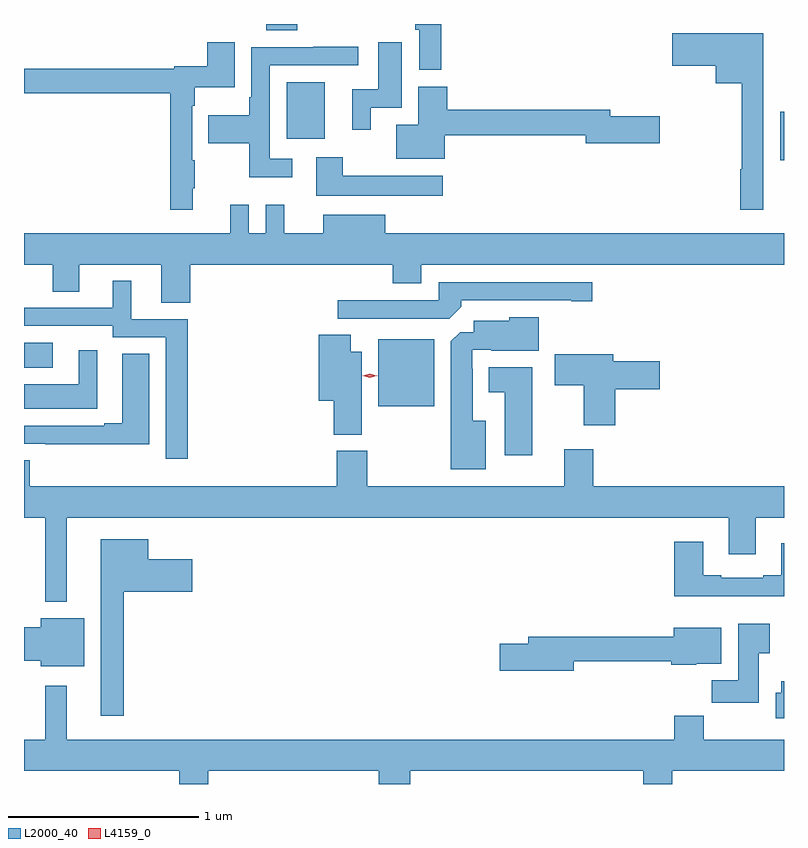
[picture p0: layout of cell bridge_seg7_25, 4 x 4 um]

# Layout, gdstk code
import gdstk
lib = gdstk.Library(unit=1e-6, precision=1e-09)
def R(c, l, rs):  # rectangles x0, y0, x1, y1
    for r in rs: c.add(gdstk.rectangle(r[:2], r[2:], *l))
def P(c, l, *ps):  # polygons
    for p in ps: c.add(gdstk.Polygon(p, *l))
L2000_40 = (2000, 40)
L4159_0 = (4159, 0)

bridge_seg7_25 = lib.new_cell('bridge_seg7_25')
R(bridge_seg7_25, L2000_40, [(1045.37,1053.149,1045.663,1053.502), (1043.505,1053.353,1043.656,1053.484), (1047.485,1054.445,1047.505,1054.699), (1044.887,1054.559,1045.087,1054.855), (1044.779,1055.129,1044.944,1055.162)])
P(bridge_seg7_25, L2000_40, [(1045.7,1055.162),(1045.564,1055.162),(1045.564,1055.132),(1045.584,1055.132),(1045.584,1054.92),(1045.7,1054.92)],
  [(1047.397,1055.113),(1046.916,1055.113),(1046.916,1054.943),(1047.146,1054.943),(1047.146,1054.85),(1047.283,1054.85),(1047.283,1054.397),(1047.276,1054.397),(1047.276,1054.185),(1047.397,1054.185)],
  [(1044.392,1054.297),(1044.403,1054.297),(1044.403,1054.445),(1044.39,1054.445),(1044.39,1054.733),(1044.403,1054.733),(1044.403,1054.829),(1044.613,1054.829),(1044.613,1055.065),(1044.47,1055.065),(1044.47,1054.939),(1044.297,1054.939),(1044.297,1054.927),(1043.505,1054.927),(1043.505,1054.798),(1044.274,1054.798),(1044.274,1054.185),(1044.392,1054.185)],
  [(1045.33,1054.722),(1045.492,1054.722),(1045.492,1055.065),(1045.37,1055.065),(1045.37,1054.818),(1045.232,1054.818),(1045.232,1054.605),(1045.33,1054.605)],
  [(1044.916,1054.452),(1044.798,1054.452),(1044.798,1054.944),(1045.264,1054.944),(1045.264,1055.042),(1045.027,1055.042),(1045.027,1055.04),(1044.702,1055.04),(1044.702,1054.777),(1044.69,1054.777),(1044.69,1054.681),(1044.475,1054.681),(1044.475,1054.534),(1044.69,1054.534),(1044.69,1054.355),(1044.916,1054.355)],
  [(1045.72,1054.576),(1046.462,1054.576),(1046.462,1054.534),(1046.851,1054.534),(1046.851,1054.676),(1046.59,1054.676),(1046.59,1054.712),(1045.733,1054.712),(1045.733,1054.831),(1045.58,1054.831),(1045.58,1054.633),(1045.463,1054.633),(1045.463,1054.454),(1045.72,1054.454)],
  [(1045.708,1054.363),(1045.183,1054.363),(1045.183,1054.462),(1045.043,1054.462),(1045.043,1054.259),(1045.708,1054.259)],
  [(1044.38,1053.896),(1045.445,1053.896),(1045.445,1053.797),(1045.597,1053.797),(1045.597,1053.896),(1047.505,1053.896),(1047.505,1054.06),(1045.405,1054.06),(1045.405,1054.159),(1045.079,1054.159),(1045.079,1054.06),(1044.875,1054.06),(1044.875,1054.21),(1044.777,1054.21),(1044.777,1054.06),(1044.687,1054.06),(1044.687,1054.21),(1044.59,1054.21),(1044.59,1054.06),(1043.505,1054.06),(1043.505,1053.896),(1043.657,1053.896),(1043.657,1053.754),(1043.797,1053.754),(1043.797,1053.896),(1044.227,1053.896),(1044.227,1053.694),(1044.38,1053.694)],
  [(1044.368,1053.609),(1044.07,1053.609),(1044.07,1053.811),(1043.972,1053.811),(1043.972,1053.669),(1043.505,1053.669),(1043.505,1053.573),(1043.973,1053.573),(1043.973,1053.513),(1044.252,1053.513),(1044.252,1052.874),(1044.368,1052.874)],
  [(1045.805,1053.674),(1045.805,1053.708),(1046.384,1053.708),(1046.384,1053.703),(1046.497,1053.703),(1046.497,1053.804),(1045.689,1053.804),(1045.689,1053.708),(1045.155,1053.708),(1045.155,1053.612),(1045.743,1053.612)],
  [(1045.936,1053.073),(1045.867,1053.073),(1045.867,1053.347),(1045.863,1053.347),(1045.863,1053.447),(1045.963,1053.447),(1045.963,1053.443),(1046.215,1053.443),(1046.215,1053.619),(1046.058,1053.619),(1046.058,1053.601),(1045.871,1053.601),(1045.871,1053.54),(1045.8,1053.54),(1045.751,1053.491),(1045.751,1052.819),(1045.936,1052.819)],
  [(1045.282,1053.436),(1045.225,1053.436),(1045.225,1053.527),(1045.055,1053.527),(1045.055,1053.179),(1045.136,1053.179),(1045.136,1053.001),(1045.282,1053.001)],
  [(1043.89,1053.445),(1043.792,1053.445),(1043.792,1053.265),(1043.505,1053.265),(1043.505,1053.137),(1043.89,1053.137)],
  [(1044.163,1053.427),(1044.023,1053.427),(1044.023,1053.061),(1043.927,1053.061),(1043.927,1053.048),(1043.505,1053.048),(1043.505,1052.952),(1043.617,1052.952),(1043.617,1052.95),(1044.163,1052.95)],
  [(1046.618,1053.239),(1046.851,1053.239),(1046.851,1053.386),(1046.605,1053.386),(1046.605,1053.424),(1046.298,1053.424),(1046.298,1053.262),(1046.45,1053.262),(1046.45,1053.051),(1046.618,1053.051)],
  [(1046.179,1053.355),(1045.952,1053.355),(1045.952,1053.224),(1046.036,1053.224),(1046.036,1052.892),(1046.179,1052.892)],
  [(1043.731,1052.564),(1047.215,1052.564),(1047.215,1052.37),(1047.355,1052.37),(1047.355,1052.564),(1047.505,1052.564),(1047.505,1052.728),(1046.501,1052.728),(1046.501,1052.923),(1046.348,1052.923),(1046.348,1052.728),(1045.311,1052.728),(1045.311,1052.916),(1045.151,1052.916),(1045.151,1052.728),(1043.534,1052.728),(1043.534,1052.867),(1043.505,1052.867),(1043.505,1052.564),(1043.617,1052.564),(1043.617,1052.12),(1043.731,1052.12)],
  [(1044.031,1052.174),(1044.391,1052.174),(1044.391,1052.344),(1044.16,1052.344),(1044.16,1052.449),(1043.909,1052.449),(1043.909,1051.521),(1044.031,1051.521)],
  [(1047.505,1052.428),(1047.491,1052.428),(1047.491,1052.26),(1047.395,1052.26),(1047.395,1052.247),(1047.175,1052.247),(1047.175,1052.26),(1047.079,1052.26),(1047.079,1052.437),(1046.927,1052.437),(1046.927,1052.15),(1047.505,1052.15)],
  [(1043.821,1052.035),(1043.594,1052.035),(1043.594,1051.988),(1043.505,1051.988),(1043.505,1051.81),(1043.594,1051.81),(1043.594,1051.781),(1043.821,1051.781)],
  [(1047.373,1051.849),(1047.43,1051.849),(1047.43,1052.005),(1047.263,1052.005),(1047.263,1051.708),(1047.124,1051.708),(1047.124,1051.59),(1047.373,1051.59)],
  [(1046.398,1051.809),(1046.912,1051.809),(1046.912,1051.79),(1047.042,1051.79),(1047.042,1051.796),(1047.175,1051.796),(1047.175,1051.984),(1046.924,1051.984),(1046.924,1051.937),(1046.159,1051.937),(1046.159,1051.901),(1046.01,1051.901),(1046.01,1051.759),(1046.398,1051.759)],
  [(1047.505,1051.702),(1047.491,1051.702),(1047.491,1051.643),(1047.461,1051.643),(1047.461,1051.508),(1047.505,1051.508)],
  [(1044.476,1051.232),(1045.373,1051.232),(1045.373,1051.162),(1045.538,1051.162),(1045.538,1051.232),(1046.765,1051.232),(1046.765,1051.162),(1046.918,1051.162),(1046.918,1051.232),(1047.505,1051.232),(1047.505,1051.396),(1047.083,1051.396),(1047.083,1051.52),(1046.927,1051.52),(1046.927,1051.396),(1043.731,1051.396),(1043.731,1051.678),(1043.617,1051.678),(1043.617,1051.396),(1043.505,1051.396),(1043.505,1051.232),(1044.323,1051.232),(1044.323,1051.162),(1044.476,1051.162)])
P(bridge_seg7_25, L4159_0, [(1045.326,1053.3),(1045.289,1053.31),(1045.289,1053.31),(1045.289,1053.31),(1045.326,1053.32),(1045.362,1053.31),(1045.363,1053.31),(1045.362,1053.31)])

lib.write_gds('bridge_seg7_25.gds')
